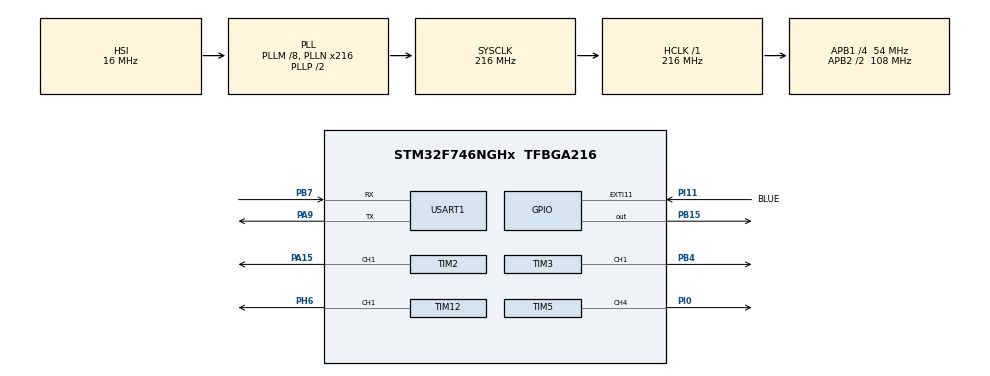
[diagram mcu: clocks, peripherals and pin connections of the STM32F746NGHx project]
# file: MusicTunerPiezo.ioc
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Mcu.Family=STM32F7
Mcu.Name=STM32F746NGHx
Mcu.Package=TFBGA216
NVIC.EXTI15_10_IRQn=true\:0\:0\:false\:false\:true\:true\:true\:true
NVIC.PriorityGroup=NVIC_PRIORITYGROUP_4
NVIC.TIM1_UP_TIM10_IRQn=true\:15\:0\:false\:false\:true\:false\:true\:true
NVIC.TIM2_IRQn=true\:0\:0\:false\:false\:true\:true\:true\:true
NVIC.TIM3_IRQn=true\:0\:0\:false\:false\:true\:true\:true\:true
NVIC.TIM5_IRQn=true\:0\:0\:false\:false\:true\:true\:true\:true
NVIC.TIM8_BRK_TIM12_IRQn=true\:0\:0\:false\:false\:true\:true\:true\:true
NVIC.TimeBase=TIM1_UP_TIM10_IRQn
NVIC.TimeBaseIP=TIM1
PA13.Mode=Serial_Wire
PA13.Signal=SYS_JTMS-SWDIO
PA14.Mode=Serial_Wire
PA14.Signal=SYS_JTCK-SWCLK
PA15.Signal=S_TIM2_CH1_ETR
PA9.Mode=Asynchronous
PA9.Signal=USART1_TX
PB15.Signal=GPIO_Output
PB4.Signal=S_TIM3_CH1
PB7.Mode=Asynchronous
PB7.Signal=USART1_RX
PB8.Signal=S_TIM4_CH3
PB9.Signal=S_TIM4_CH4
PH0/OSC_IN.Mode=HSE-External-Oscillator
PH0/OSC_IN.Signal=RCC_OSC_IN
PH1/OSC_OUT.Mode=HSE-External-Oscillator
PH1/OSC_OUT.Signal=RCC_OSC_OUT
PH6.Signal=S_TIM12_CH1
PI0.Signal=S_TIM5_CH4
PI11.GPIO_Label=BLUE
PI11.Signal=GPXTI11
ProjectManager.HeapSize=0x200
ProjectManager.StackSize=0x400
ProjectManager.TargetToolchain=STM32CubeIDE
RCC.AHBFreq_Value=216000000
RCC.APB1CLKDivider=RCC_HCLK_DIV4
RCC.APB1Freq_Value=54000000
RCC.APB1TimFreq_Value=108000000
RCC.APB2CLKDivider=RCC_HCLK_DIV2
RCC.APB2Freq_Value=108000000
RCC.APB2TimFreq_Value=216000000
RCC.CortexFreq_Value=216000000
RCC.HCLKFreq_Value=216000000
RCC.HSE_VALUE=25000000
RCC.HSI_VALUE=16000000
RCC.LSE_VALUE=32768
RCC.PLLM=8
RCC.PLLN=216
RCC.PLLSourceVirtual=RCC_PLLSOURCE_HSI
RCC.SYSCLKFreq_VALUE=216000000
RCC.SYSCLKSource=RCC_SYSCLKSOURCE_PLLCLK
RCC.USBFreq_Value=216000000
RCC.VCOOutputFreq_Value=432000000
SH.S_TIM12_CH1.0=TIM12_CH1,PWM Generation1 CH1
SH.S_TIM2_CH1_ETR.0=TIM2_CH1,PWM Generation1 CH1
SH.S_TIM3_CH1.0=TIM3_CH1,PWM Generation1 CH1
SH.S_TIM4_CH3.0=TIM4_CH3
SH.S_TIM4_CH4.0=TIM4_CH4
SH.S_TIM5_CH4.0=TIM5_CH4,PWM Generation4 CH4
TIM12.AutoReloadPreload=TIM_AUTORELOAD_PRELOAD_ENABLE
TIM12.Channel-PWM\ Generation1\ CH1=TIM_CHANNEL_1
TIM12.Period=1135
TIM12.Prescaler=215
TIM12.Pulse-PWM\ Generation1\ CH1=1135
TIM2.AutoReloadPreload=TIM_AUTORELOAD_PRELOAD_ENABLE
TIM2.Channel-PWM\ Generation1\ CH1=TIM_CHANNEL_1
TIM2.Period=1135
TIM2.Prescaler=215
TIM2.Pulse-PWM\ Generation1\ CH1=1135
TIM2.TIM_MasterOutputTrigger=TIM_TRGO_UPDATE
TIM3.AutoReloadPreload=TIM_AUTORELOAD_PRELOAD_ENABLE
TIM3.Channel-PWM\ Generation1\ CH1=TIM_CHANNEL_1
TIM3.Period=1135
TIM3.Prescaler=215
TIM3.Pulse-PWM\ Generation1\ CH1=1135
TIM3.TIM_MasterOutputTrigger=TIM_TRGO_UPDATE
TIM5.AutoReloadPreload=TIM_AUTORELOAD_PRELOAD_ENABLE
TIM5.Channel-PWM\ Generation4\ CH4=TIM_CHANNEL_4
TIM5.OCMode_PWM-PWM\ Generation4\ CH4=TIM_OCMODE_PWM1
TIM5.Period=1135
TIM5.Prescaler=215
TIM5.Pulse-PWM\ Generation4\ CH4=1135
TIM5.TIM_MasterOutputTrigger=TIM_TRGO_UPDATE
USART1.VirtualMode-Asynchronous=VM_ASYNC
VP_SYS_VS_tim1.Mode=TIM1
VP_TIM12_VS_ClockSourceINT.Mode=Internal
VP_TIM2_VS_ClockSourceINT.Mode=Internal
VP_TIM3_VS_ClockSourceINT.Mode=Internal
VP_TIM5_VS_ClockSourceINT.Mode=Internal
board=STM32F746G-DISCO

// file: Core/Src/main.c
/* USER CODE BEGIN Header */
/**
  ******************************************************************************
  * @file           : main.c
  * @brief          : Main program body
  ******************************************************************************
  * @attention
  *
  * Copyright (c) 2024 STMicroelectronics.
  * All rights reserved.
  *
  * This software is licensed under terms that can be found in the LICENSE file
  * in the root directory of this software component.
  * If no LICENSE file comes with this software, it is provided AS-IS.
  *
  * PINS: PB4(TIM3_CH1), PA15(TIM2_CH1), PB8(TIM4_CH3), PH6(TIM12_CH1)
  * PINS: D3, D9, D10, D6
  *
  ******************************************************************************
  */
/* USER CODE END Header */
#include "main.h"
#include "tim.h"
#include "usart.h"
#include "gpio.h"

/* USER CODE BEGIN Includes */
#include <stdbool.h>
#include <stdio.h>

/* USER CODE END Includes */

/* USER CODE BEGIN PD */
#define PUTCHAR_PROTOTYPE int __io_putchar(int ch)
#define GETCHAR_PROTOTYPE int __io_getchar(void)
/* USER CODE END PD */

/* USER CODE BEGIN PV */
//static bool button = true;
static uint32_t volume = 0;
static bool up = true;

/* USER CODE END PV */

void SystemClock_Config(void);

/* USER CODE BEGIN 0 */
PUTCHAR_PROTOTYPE
{
HAL_UART_Transmit(&huart1, (uint8_t *)&ch, 1, HAL_MAX_DELAY);
return ch;
}
GETCHAR_PROTOTYPE
{
uint8_t ch = 0;
__HAL_UART_CLEAR_OREFLAG(&huart1);
HAL_UART_Receive(&huart1, (uint8_t *)&ch, 1, HAL_MAX_DELAY);
return ch;
}
/* USER CODE END 0 */

int main(void)
{

  /* USER CODE BEGIN 1 */
	setvbuf(stdin, NULL, _IONBF, 0);

  /* USER CODE END 1 */

  /* MCU Configuration--------------------------------------------------------*/

  /* Reset of all peripherals, Initializes the Flash interface and the Systick. */
  HAL_Init();

  /* Configure the system clock */
  SystemClock_Config();

  /* Initialize all configured peripherals */
  MX_GPIO_Init();
  MX_TIM2_Init();
  MX_TIM3_Init();
  MX_TIM5_Init();
  MX_TIM12_Init();
  MX_USART1_UART_Init();

  /* Infinite loop */
  /* USER CODE BEGIN WHILE */
  /*  PINS:  *  PB4(TIM3_CH1), PA15(TIM2_CH1), PH6(TIM12_CH1), PI0 (TIM5_CH4)
 * 		Board PINS: D3, D9, D6, D10*/

  initializeNoteFrequencies();
  /*printf("hello\n");
  getFreq("A#0");
  getFreq("D#7");
  getFreq("D#4");
  getFreq("B6 ");*/

  initPiezo();

  while (1)
  {
//	  playNoteTIM2("A4 ", true);
//	  playNoteTIM3("G2 ", false);
//	  playNoteTIM5("B2 ", false);
//	  playNoteTIM12("D2 ", false);
//	  //stopAll();
//	  HAL_Delay(1500);
//
//	  playNoteTIM2("A4 ", true);
//	  playNoteTIM3("G4 ", true);
//	  playNoteTIM5("B4 ", true);
//	  playNoteTIM12("D4 ", true);
//	  HAL_Delay(1500);
//
//	  playNoteTIM2("A2 ", true);
//	  playNoteTIM3("G2 ", true);
//	  playNoteTIM5("B2 ", true);
//	  playNoteTIM12("D2 ", true);
//	  HAL_Delay(1500);

	  piezoSelectOn("G3 ");
	  HAL_Delay(500);
	  piezoSelectOn("D4 ");
	  HAL_Delay(500);
	  piezoSelectOn("G4 ");
	  HAL_Delay(500);
	  piezoSelectOn("B4 ");
	  HAL_Delay(1500);

	  piezoSelectOff("B4 ");
	  HAL_Delay(500);
	  piezoSelectOff("G4 ");
	  HAL_Delay(500);
	  piezoSelectOff("D4 ");
	  HAL_Delay(500);
	  piezoSelectOff("G3 ");
	  HAL_Delay(1500);

	  /*

	  int x = 10;
	  while(x > 0){
		  HAL_Delay(250);
		  volumeUp();
		  x--;
	  }
	  x = 10;
	  while(x > 0){
		  HAL_Delay(250);
		  volumeDown();
		  x--;
	  }

	  HAL_Delay(500);

	  playNote();

	  x = 10;
	  while(x > 0){
		  HAL_Delay(250);
		  volumeUp();
		  x--;
	  }
	  x = 10;
	  while(x > 0){
		  HAL_Delay(250);
		  volumeDown();
		  x--;
	  }*/

    /* USER CODE END WHILE */

  }
}

void SystemClock_Config(void)
{
  RCC_OscInitTypeDef RCC_OscInitStruct = {0};
  RCC_ClkInitTypeDef RCC_ClkInitStruct = {0};

  /** Configure the main internal regulator output voltage
  */
  __HAL_RCC_PWR_CLK_ENABLE();
  __HAL_PWR_VOLTAGESCALING_CONFIG(PWR_REGULATOR_VOLTAGE_SCALE1);

  /** Initializes the RCC Oscillators according to the specified parameters
  * in the RCC_OscInitTypeDef structure.
  */
  RCC_OscInitStruct.OscillatorType = RCC_OSCILLATORTYPE_HSI;
  RCC_OscInitStruct.HSIState = RCC_HSI_ON;
  RCC_OscInitStruct.HSICalibrationValue = RCC_HSICALIBRATION_DEFAULT;
  RCC_OscInitStruct.PLL.PLLState = RCC_PLL_ON;
  RCC_OscInitStruct.PLL.PLLSource = RCC_PLLSOURCE_HSI;
  RCC_OscInitStruct.PLL.PLLM = 8;
  RCC_OscInitStruct.PLL.PLLN = 216;
  RCC_OscInitStruct.PLL.PLLP = RCC_PLLP_DIV2;
  RCC_OscInitStruct.PLL.PLLQ = 2;
  if (HAL_RCC_OscConfig(&RCC_OscInitStruct) != HAL_OK)
  {
    Error_Handler();
  }

  /** Activate the Over-Drive mode
  */
  if (HAL_PWREx_EnableOverDrive() != HAL_OK)
  {
    Error_Handler();
  }

  /** Initializes the CPU, AHB and APB buses clocks
  */
  RCC_ClkInitStruct.ClockType = RCC_CLOCKTYPE_HCLK|RCC_CLOCKTYPE_SYSCLK
                              |RCC_CLOCKTYPE_PCLK1|RCC_CLOCKTYPE_PCLK2;
  RCC_ClkInitStruct.SYSCLKSource = RCC_SYSCLKSOURCE_PLLCLK;
  RCC_ClkInitStruct.AHBCLKDivider = RCC_SYSCLK_DIV1;
  RCC_ClkInitStruct.APB1CLKDivider = RCC_HCLK_DIV4;
  RCC_ClkInitStruct.APB2CLKDivider = RCC_HCLK_DIV2;

  if (HAL_RCC_ClockConfig(&RCC_ClkInitStruct, FLASH_LATENCY_7) != HAL_OK)
  {
    Error_Handler();
  }
}

/* USER CODE BEGIN 4 */
void HAL_GPIO_EXTI_Callback(uint16_t GPIO_Pin)
{
  /* Prevent unused argument(s) compilation warning */
  UNUSED(GPIO_Pin);
  /* NOTE: This function Should not be modified, when the callback is needed,
           the HAL_GPIO_EXTI_Callback could be implemented in the user file
   */
  if(GPIO_Pin == BLUE_Pin){
	  if(up == false){
		  volume -= 5;
	  } else if(up == true){
		  volume += 5;
	  }

	  if(volume == 0){
		  up = true;
	  }
	  if(volume == 50){
		  up = false;
	  }

	  __HAL_TIM_SET_COMPARE(&htim3,TIM_CHANNEL_1, (volume));
	  __HAL_TIM_SET_COMPARE(&htim2,TIM_CHANNEL_1, (volume));
	  __HAL_TIM_SET_COMPARE(&htim5,TIM_CHANNEL_4, (volume));
	  __HAL_TIM_SET_COMPARE(&htim12,TIM_CHANNEL_1, (volume));
  }
}

/* USER CODE END 4 */

void HAL_TIM_PeriodElapsedCallback(TIM_HandleTypeDef *htim)
{
  if (htim->Instance == TIM1) {
    HAL_IncTick();
  }
}

void Error_Handler(void)
{
  __disable_irq();
  while (1)
  {
  }
}
